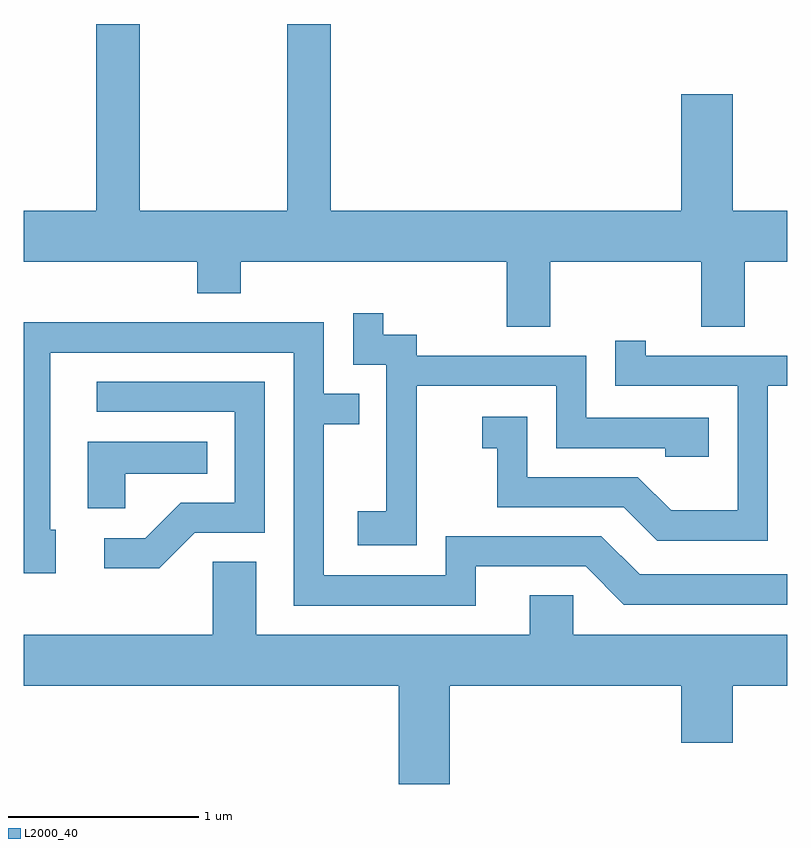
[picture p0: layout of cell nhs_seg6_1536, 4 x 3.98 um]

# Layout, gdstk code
import gdstk
lib = gdstk.Library(unit=1e-6, precision=1e-09)
def P(c, l, *ps):  # polygons
    for p in ps: c.add(gdstk.Polygon(p, *l))
L2000_40 = (2000, 40)

nhs_seg6_1536 = lib.new_cell('nhs_seg6_1536')
P(nhs_seg6_1536, L2000_40, [(234.369,1558.916),(235.161,1558.916),(235.161,1558.576),(235.389,1558.576),(235.389,1558.916),(235.611,1558.916),(235.611,1559.184),(235.324,1559.184),(235.324,1559.794),(235.056,1559.794),(235.056,1559.184),(233.219,1559.184),(233.219,1560.162),(232.991,1560.162),(232.991,1559.184),(232.219,1559.184),(232.219,1560.162),(231.991,1560.162),(231.991,1559.184),(231.611,1559.184),(231.611,1558.916),(232.521,1558.916),(232.521,1558.751),(232.749,1558.751),(232.749,1558.916),(234.141,1558.916),(234.141,1558.576),(234.369,1558.576)],
  [(233.669,1558.266),(234.401,1558.266),(234.401,1557.941),(234.971,1557.941),(234.971,1557.896),(235.199,1557.896),(235.199,1558.099),(234.559,1558.099),(234.559,1558.424),(233.669,1558.424),(233.669,1558.534),(233.494,1558.534),(233.494,1558.648),(233.336,1558.648),(233.336,1558.376),(233.511,1558.376),(233.511,1557.609),(233.361,1557.609),(233.361,1557.431),(233.669,1557.431)],
  [(233.979,1557.321),(234.554,1557.321),(234.754,1557.121),(235.611,1557.121),(235.611,1557.279),(234.837,1557.279),(234.637,1557.479),(233.821,1557.479),(233.821,1557.274),(233.184,1557.274),(233.184,1558.066),(233.368,1558.066),(233.368,1558.224),(233.184,1558.224),(233.184,1558.599),(231.611,1558.599),(231.611,1557.286),(231.779,1557.286),(231.779,1557.514),(231.749,1557.514),(231.749,1558.441),(233.026,1558.441),(233.026,1557.116),(233.979,1557.116)],
  [(235.509,1558.266),(235.611,1558.266),(235.611,1558.424),(234.869,1558.424),(234.869,1558.503),(234.711,1558.503),(234.711,1558.266),(235.351,1558.266),(235.351,1557.614),(235.002,1557.614),(234.827,1557.789),(234.249,1557.789),(234.249,1558.104),(234.013,1558.104),(234.013,1557.941),(234.091,1557.941),(234.091,1557.631),(234.754,1557.631),(234.929,1557.456),(235.509,1557.456)],
  [(232.507,1557.496),(232.874,1557.496),(232.874,1558.289),(231.993,1558.289),(231.993,1558.131),(232.716,1558.131),(232.716,1557.654),(232.434,1557.654),(232.249,1557.469),(232.033,1557.469),(232.033,1557.311),(232.322,1557.311)],
  [(232.144,1557.806),(232.573,1557.806),(232.573,1557.974),(231.946,1557.974),(231.946,1557.626),(232.144,1557.626)],
  [(233.844,1556.696),(235.056,1556.696),(235.056,1556.396),(235.324,1556.396),(235.324,1556.696),(235.611,1556.696),(235.611,1556.964),(234.489,1556.964),(234.489,1557.169),(234.261,1557.169),(234.261,1556.964),(232.829,1556.964),(232.829,1557.344),(232.601,1557.344),(232.601,1556.964),(231.611,1556.964),(231.611,1556.696),(233.576,1556.696),(233.576,1556.181),(233.844,1556.181)])

lib.write_gds('nhs_seg6_1536.gds')
